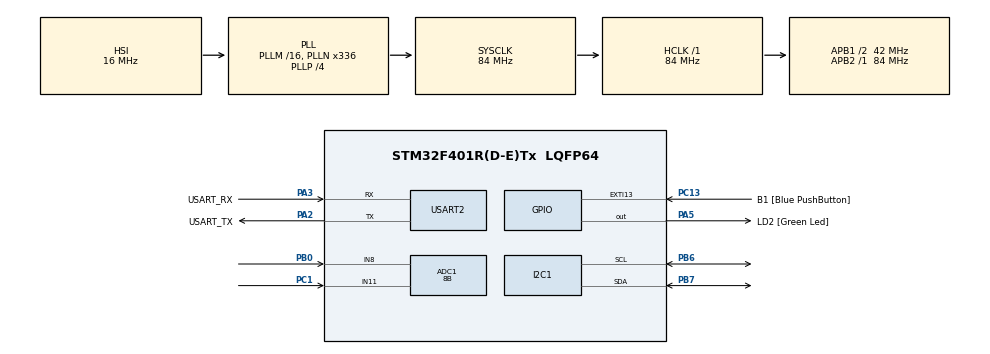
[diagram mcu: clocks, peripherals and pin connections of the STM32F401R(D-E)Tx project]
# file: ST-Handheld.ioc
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ADC1.Channel-11\#ChannelRegularConversion=ADC_CHANNEL_8
ADC1.Channel-12\#ChannelRegularConversion=ADC_CHANNEL_11
ADC1.ContinuousConvMode=DISABLE
ADC1.DMAContinuousRequests=ENABLE
ADC1.EOCSelection=ADC_EOC_SEQ_CONV
ADC1.NbrOfConversion=2
ADC1.NbrOfConversionFlag=1
ADC1.Rank-11\#ChannelRegularConversion=1
ADC1.Rank-12\#ChannelRegularConversion=2
ADC1.Resolution=ADC_RESOLUTION_8B
ADC1.SamplingTime-11\#ChannelRegularConversion=ADC_SAMPLETIME_15CYCLES
ADC1.SamplingTime-12\#ChannelRegularConversion=ADC_SAMPLETIME_15CYCLES
ADC1.master=1
Dma.ADC1.0.Direction=DMA_PERIPH_TO_MEMORY
Dma.ADC1.0.FIFOMode=DMA_FIFOMODE_DISABLE
Dma.ADC1.0.Instance=DMA2_Stream4
Dma.ADC1.0.MemDataAlignment=DMA_MDATAALIGN_WORD
Dma.ADC1.0.MemInc=DMA_MINC_ENABLE
Dma.ADC1.0.Mode=DMA_NORMAL
Dma.ADC1.0.PeriphDataAlignment=DMA_PDATAALIGN_WORD
Dma.ADC1.0.PeriphInc=DMA_PINC_DISABLE
Dma.ADC1.0.Priority=DMA_PRIORITY_VERY_HIGH
Dma.Request0=ADC1
I2C1.DutyCycle=I2C_DUTYCYCLE_16_9
I2C1.I2C_Mode=I2C_Fast
I2C1.OwnAddress=0x3c
Mcu.Family=STM32F4
Mcu.Name=STM32F401R(D-E)Tx
Mcu.Package=LQFP64
NVIC.DMA2_Stream4_IRQn=true\:0\:0\:false\:false\:true\:false\:true\:true
NVIC.PriorityGroup=NVIC_PRIORITYGROUP_4
NVIC.TIM1_UP_TIM10_IRQn=true\:0\:0\:false\:false\:true\:true\:true\:true
PA13.GPIO_Label=TMS
PA13.Mode=Trace_Asynchronous_SW
PA13.Signal=SYS_JTMS-SWDIO
PA14.GPIO_Label=TCK
PA14.Mode=Trace_Asynchronous_SW
PA14.Signal=SYS_JTCK-SWCLK
PA2.GPIO_Label=USART_TX
PA2.GPIO_Mode=GPIO_MODE_AF_PP
PA2.GPIO_PuPd=GPIO_NOPULL
PA2.GPIO_Speed=GPIO_SPEED_FREQ_LOW
PA2.Mode=Asynchronous
PA2.Signal=USART2_TX
PA3.GPIO_Label=USART_RX
PA3.GPIO_Mode=GPIO_MODE_AF_PP
PA3.GPIO_PuPd=GPIO_NOPULL
PA3.GPIO_Speed=GPIO_SPEED_FREQ_LOW
PA3.Mode=Asynchronous
PA3.Signal=USART2_RX
PA5.GPIO_Label=LD2 [Green Led]
PA5.GPIO_Mode=GPIO_MODE_OUTPUT_PP
PA5.GPIO_PuPd=GPIO_NOPULL
PA5.GPIO_Speed=GPIO_SPEED_FREQ_LOW
PA5.Signal=GPIO_Output
PB0.Signal=ADCx_IN8
PB3.GPIO_Label=SWO
PB3.Mode=Trace_Asynchronous_SW
PB3.Signal=SYS_JTDO-SWO
PB6.Mode=I2C
PB6.Signal=I2C1_SCL
PB7.Mode=I2C
PB7.Signal=I2C1_SDA
PC1.Signal=ADCx_IN11
PC13-ANTI_TAMP.GPIO_Label=B1 [Blue PushButton]
PC13-ANTI_TAMP.GPIO_ModeDefaultEXTI=GPIO_MODE_IT_FALLING
PC13-ANTI_TAMP.GPIO_PuPd=GPIO_NOPULL
PC13-ANTI_TAMP.Signal=GPXTI13
PC14-OSC32_IN.Mode=LSE-External-Oscillator
PC14-OSC32_IN.Signal=RCC_OSC32_IN
PC15-OSC32_OUT.Mode=LSE-External-Oscillator
PC15-OSC32_OUT.Signal=RCC_OSC32_OUT
PH0\ -\ OSC_IN.Mode=HSE-External-Clock-Source
PH0\ -\ OSC_IN.Signal=RCC_OSC_IN
PH1\ -\ OSC_OUT.Mode=HSE-External-Clock-Source
PH1\ -\ OSC_OUT.Signal=RCC_OSC_OUT
ProjectManager.HeapSize=0x200
ProjectManager.StackSize=0x400
ProjectManager.TargetToolchain=CMake
RCC.48MHZClocksFreq_Value=48000000
RCC.AHBFreq_Value=84000000
RCC.APB1CLKDivider=RCC_HCLK_DIV2
RCC.APB1Freq_Value=42000000
RCC.APB1TimFreq_Value=84000000
RCC.APB2Freq_Value=84000000
RCC.APB2TimFreq_Value=84000000
RCC.CortexFreq_Value=84000000
RCC.HCLKFreq_Value=84000000
RCC.HSE_VALUE=8000000
RCC.HSI_VALUE=16000000
RCC.PLLN=336
RCC.PLLP=RCC_PLLP_DIV4
RCC.PLLQ=7
RCC.SYSCLKFreq_VALUE=84000000
RCC.SYSCLKSource=RCC_SYSCLKSOURCE_PLLCLK
RCC.VCOOutputFreq_Value=336000000
SH.ADCx_IN11.0=ADC1_IN11,IN11
SH.ADCx_IN8.0=ADC1_IN8,IN8
TIM1.AutoReloadPreload=TIM_AUTORELOAD_PRELOAD_DISABLE
TIM1.Period=350
TIM1.Prescaler=8400
TIM3.Prescaler=83
USART2.VirtualMode=VM_ASYNC
VP_TIM1_VS_ClockSourceINT.Mode=Internal
VP_TIM3_VS_ClockSourceINT.Mode=Internal
board=NUCLEO-F401RE

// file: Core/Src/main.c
/* USER CODE BEGIN Header */
/**
 ******************************************************************************
 * @file           : main.c
 * @brief          : Main program body
 ******************************************************************************
 * @attention
 *
 * Copyright (c) 2025 STMicroelectronics.
 * All rights reserved.
 *
 * This software is licensed under terms that can be found in the LICENSE file
 * in the root directory of this software component.
 * If no LICENSE file comes with this software, it is provided AS-IS.
 *
 ******************************************************************************
 */

/* USER CODE END Header */
#include "main.h"

/* USER CODE BEGIN Includes */

#include "game_logic.h"
#include "ssd_1306.h"
#include "stdint.h"
#include "stm32f4xx_hal.h"
#include "string.h"
#include <stdint.h>

/* USER CODE END Includes */

ADC_HandleTypeDef hadc1;
DMA_HandleTypeDef hdma_adc1;

I2C_HandleTypeDef hi2c1;

TIM_HandleTypeDef htim1;
TIM_HandleTypeDef htim3;

UART_HandleTypeDef huart2;

/* USER CODE BEGIN PV */

#define DISPLAY_X_SIZE 128
#define DISPLAY_Y_SIZE 64
/* USER CODE END PV */

void SystemClock_Config(void);
static void MX_GPIO_Init(void);
static void MX_DMA_Init(void);
static void MX_USART2_UART_Init(void);
static void MX_ADC1_Init(void);
static void MX_I2C1_Init(void);
static void MX_TIM1_Init(void);
static void MX_TIM3_Init(void);

int main(void) {

  /* MCU Configuration--------------------------------------------------------*/

  /* Reset of all peripherals, Initializes the Flash interface and the Systick.
   */
  HAL_Init();

  /* Configure the system clock */
  SystemClock_Config();

  /* Initialize all configured peripherals */
  MX_GPIO_Init();
  MX_DMA_Init();
  MX_USART2_UART_Init();
  MX_ADC1_Init();
  MX_I2C1_Init();
  MX_TIM1_Init();
  MX_TIM3_Init();
  /* USER CODE BEGIN 2 */
  HAL_Delay(200);

  I2C_SSD1306_Screen_Init(&hi2c1);
  HAL_TIM_Base_Start_IT(&htim1);

  game_init(&htim3, &hadc1);
  /* USER CODE END 2 */

  /* Infinite loop */
  while (1) {

    /* USER CODE BEGIN 3 */

    continue;
  }
  /* USER CODE END 3 */
}

void SystemClock_Config(void) {
  RCC_OscInitTypeDef RCC_OscInitStruct = {0};
  RCC_ClkInitTypeDef RCC_ClkInitStruct = {0};

  /** Configure the main internal regulator output voltage
   */
  __HAL_RCC_PWR_CLK_ENABLE();
  __HAL_PWR_VOLTAGESCALING_CONFIG(PWR_REGULATOR_VOLTAGE_SCALE2);

  /** Initializes the RCC Oscillators according to the specified parameters
   * in the RCC_OscInitTypeDef structure.
   */
  RCC_OscInitStruct.OscillatorType = RCC_OSCILLATORTYPE_HSI;
  RCC_OscInitStruct.HSIState = RCC_HSI_ON;
  RCC_OscInitStruct.HSICalibrationValue = RCC_HSICALIBRATION_DEFAULT;
  RCC_OscInitStruct.PLL.PLLState = RCC_PLL_ON;
  RCC_OscInitStruct.PLL.PLLSource = RCC_PLLSOURCE_HSI;
  RCC_OscInitStruct.PLL.PLLM = 16;
  RCC_OscInitStruct.PLL.PLLN = 336;
  RCC_OscInitStruct.PLL.PLLP = RCC_PLLP_DIV4;
  RCC_OscInitStruct.PLL.PLLQ = 7;
  if (HAL_RCC_OscConfig(&RCC_OscInitStruct) != HAL_OK) {
    Error_Handler();
  }

  /** Initializes the CPU, AHB and APB buses clocks
   */
  RCC_ClkInitStruct.ClockType = RCC_CLOCKTYPE_HCLK | RCC_CLOCKTYPE_SYSCLK |
                                RCC_CLOCKTYPE_PCLK1 | RCC_CLOCKTYPE_PCLK2;
  RCC_ClkInitStruct.SYSCLKSource = RCC_SYSCLKSOURCE_PLLCLK;
  RCC_ClkInitStruct.AHBCLKDivider = RCC_SYSCLK_DIV1;
  RCC_ClkInitStruct.APB1CLKDivider = RCC_HCLK_DIV2;
  RCC_ClkInitStruct.APB2CLKDivider = RCC_HCLK_DIV1;

  if (HAL_RCC_ClockConfig(&RCC_ClkInitStruct, FLASH_LATENCY_2) != HAL_OK) {
    Error_Handler();
  }
}

static void MX_ADC1_Init(void) {

  ADC_ChannelConfTypeDef sConfig = {0};

  /** Configure the global features of the ADC (Clock, Resolution, Data
   * Alignment and number of conversion)
   */
  hadc1.Instance = ADC1;
  hadc1.Init.ClockPrescaler = ADC_CLOCK_SYNC_PCLK_DIV4;
  hadc1.Init.Resolution = ADC_RESOLUTION_8B;
  hadc1.Init.ScanConvMode = ENABLE;
  hadc1.Init.ContinuousConvMode = DISABLE;
  hadc1.Init.DiscontinuousConvMode = DISABLE;
  hadc1.Init.ExternalTrigConvEdge = ADC_EXTERNALTRIGCONVEDGE_NONE;
  hadc1.Init.ExternalTrigConv = ADC_SOFTWARE_START;
  hadc1.Init.DataAlign = ADC_DATAALIGN_RIGHT;
  hadc1.Init.NbrOfConversion = 2;
  hadc1.Init.DMAContinuousRequests = ENABLE;
  hadc1.Init.EOCSelection = ADC_EOC_SEQ_CONV;
  if (HAL_ADC_Init(&hadc1) != HAL_OK) {
    Error_Handler();
  }

  /** Configure for the selected ADC regular channel its corresponding rank in
   * the sequencer and its sample time.
   */
  sConfig.Channel = ADC_CHANNEL_8;
  sConfig.Rank = 1;
  sConfig.SamplingTime = ADC_SAMPLETIME_15CYCLES;
  if (HAL_ADC_ConfigChannel(&hadc1, &sConfig) != HAL_OK) {
    Error_Handler();
  }

  /** Configure for the selected ADC regular channel its corresponding rank in
   * the sequencer and its sample time.
   */
  sConfig.Channel = ADC_CHANNEL_11;
  sConfig.Rank = 2;
  if (HAL_ADC_ConfigChannel(&hadc1, &sConfig) != HAL_OK) {
    Error_Handler();
  }
}

static void MX_I2C1_Init(void) {

  hi2c1.Instance = I2C1;
  hi2c1.Init.ClockSpeed = 400000;
  hi2c1.Init.DutyCycle = I2C_DUTYCYCLE_16_9;
  hi2c1.Init.OwnAddress1 = 120;
  hi2c1.Init.AddressingMode = I2C_ADDRESSINGMODE_7BIT;
  hi2c1.Init.DualAddressMode = I2C_DUALADDRESS_DISABLE;
  hi2c1.Init.OwnAddress2 = 0;
  hi2c1.Init.GeneralCallMode = I2C_GENERALCALL_DISABLE;
  hi2c1.Init.NoStretchMode = I2C_NOSTRETCH_DISABLE;
  if (HAL_I2C_Init(&hi2c1) != HAL_OK) {
    Error_Handler();
  }
}

static void MX_TIM1_Init(void) {

  TIM_ClockConfigTypeDef sClockSourceConfig = {0};
  TIM_MasterConfigTypeDef sMasterConfig = {0};

  htim1.Instance = TIM1;
  htim1.Init.Prescaler = 8400;
  htim1.Init.CounterMode = TIM_COUNTERMODE_UP;
  htim1.Init.Period = 350;
  htim1.Init.ClockDivision = TIM_CLOCKDIVISION_DIV1;
  htim1.Init.RepetitionCounter = 0;
  htim1.Init.AutoReloadPreload = TIM_AUTORELOAD_PRELOAD_DISABLE;
  if (HAL_TIM_Base_Init(&htim1) != HAL_OK) {
    Error_Handler();
  }
  sClockSourceConfig.ClockSource = TIM_CLOCKSOURCE_INTERNAL;
  if (HAL_TIM_ConfigClockSource(&htim1, &sClockSourceConfig) != HAL_OK) {
    Error_Handler();
  }
  sMasterConfig.MasterOutputTrigger = TIM_TRGO_RESET;
  sMasterConfig.MasterSlaveMode = TIM_MASTERSLAVEMODE_DISABLE;
  if (HAL_TIMEx_MasterConfigSynchronization(&htim1, &sMasterConfig) != HAL_OK) {
    Error_Handler();
  }
}

static void MX_TIM3_Init(void) {

  TIM_ClockConfigTypeDef sClockSourceConfig = {0};
  TIM_MasterConfigTypeDef sMasterConfig = {0};

  htim3.Instance = TIM3;
  htim3.Init.Prescaler = 83;
  htim3.Init.CounterMode = TIM_COUNTERMODE_UP;
  htim3.Init.Period = 65535;
  htim3.Init.ClockDivision = TIM_CLOCKDIVISION_DIV1;
  htim3.Init.AutoReloadPreload = TIM_AUTORELOAD_PRELOAD_DISABLE;
  if (HAL_TIM_Base_Init(&htim3) != HAL_OK) {
    Error_Handler();
  }
  sClockSourceConfig.ClockSource = TIM_CLOCKSOURCE_INTERNAL;
  if (HAL_TIM_ConfigClockSource(&htim3, &sClockSourceConfig) != HAL_OK) {
    Error_Handler();
  }
  sMasterConfig.MasterOutputTrigger = TIM_TRGO_RESET;
  sMasterConfig.MasterSlaveMode = TIM_MASTERSLAVEMODE_DISABLE;
  if (HAL_TIMEx_MasterConfigSynchronization(&htim3, &sMasterConfig) != HAL_OK) {
    Error_Handler();
  }
}

static void MX_USART2_UART_Init(void) {

  huart2.Instance = USART2;
  huart2.Init.BaudRate = 115200;
  huart2.Init.WordLength = UART_WORDLENGTH_8B;
  huart2.Init.StopBits = UART_STOPBITS_1;
  huart2.Init.Parity = UART_PARITY_NONE;
  huart2.Init.Mode = UART_MODE_TX_RX;
  huart2.Init.HwFlowCtl = UART_HWCONTROL_NONE;
  huart2.Init.OverSampling = UART_OVERSAMPLING_16;
  if (HAL_UART_Init(&huart2) != HAL_OK) {
    Error_Handler();
  }
}

static void MX_DMA_Init(void) {

  /* DMA controller clock enable */
  __HAL_RCC_DMA2_CLK_ENABLE();

  /* DMA interrupt init */
  /* DMA2_Stream4_IRQn interrupt configuration */
  HAL_NVIC_SetPriority(DMA2_Stream4_IRQn, 0, 0);
  HAL_NVIC_EnableIRQ(DMA2_Stream4_IRQn);
}

static void MX_GPIO_Init(void) {
  GPIO_InitTypeDef GPIO_InitStruct = {0};

  /* GPIO Ports Clock Enable */
  __HAL_RCC_GPIOC_CLK_ENABLE();
  __HAL_RCC_GPIOH_CLK_ENABLE();
  __HAL_RCC_GPIOA_CLK_ENABLE();
  __HAL_RCC_GPIOB_CLK_ENABLE();

  /*Configure GPIO pin Output Level */
  HAL_GPIO_WritePin(LD2_GPIO_Port, LD2_Pin, GPIO_PIN_RESET);

  /*Configure GPIO pin : B1_Pin */
  GPIO_InitStruct.Pin = B1_Pin;
  GPIO_InitStruct.Mode = GPIO_MODE_IT_FALLING;
  GPIO_InitStruct.Pull = GPIO_NOPULL;
  HAL_GPIO_Init(B1_GPIO_Port, &GPIO_InitStruct);

  /*Configure GPIO pin : LD2_Pin */
  GPIO_InitStruct.Pin = LD2_Pin;
  GPIO_InitStruct.Mode = GPIO_MODE_OUTPUT_PP;
  GPIO_InitStruct.Pull = GPIO_NOPULL;
  GPIO_InitStruct.Speed = GPIO_SPEED_FREQ_LOW;
  HAL_GPIO_Init(LD2_GPIO_Port, &GPIO_InitStruct);

}

/* USER CODE BEGIN 4 */

// a simple function to update the OLED screen with whatever is in buffer at the
// current time (this is currently set somewhere in the neighbourhood of 25 FPS)
// called by TIM1 overflow event
void HAL_TIM_PeriodElapsedCallback(TIM_HandleTypeDef *htim) { frame_update(); }

/* USER CODE END 4 */

void Error_Handler(void) {
  __disable_irq();
  while (1) {
  }
}
#ifdef USE_FULL_ASSERT
/**
 * @brief  Reports the name of the source file and the source line number
 *         where the assert_param error has occurred.
 * @param  file: pointer to the source file name
 * @param  line: assert_param error line source number
 * @retval None
 */
void assert_failed(uint8_t *file, uint32_t line) {
  /* USER CODE BEGIN 6 */
  /* User can add his own implementation to report the file name and line
     number, ex: printf("Wrong parameters value: file %s on line %d\r\n", file,
     line) */
  /* USER CODE END 6 */
}
#endif /* USE_FULL_ASSERT */
